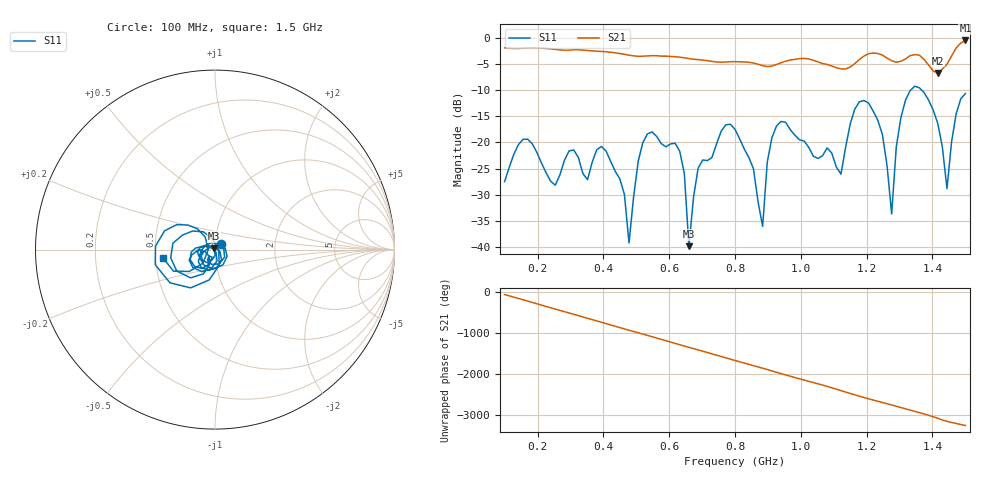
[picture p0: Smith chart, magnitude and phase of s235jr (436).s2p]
! NanoVNA-App
! Date: 2025-09-25 15:07:33
! Start: 100MHz Stop: 1,5GHz Points: 101
! S-Parameter data: F S11 S21 S12 S22
# Hz S RI R 50
!  Frequency  S11_Real  S11_Imag  S21_Real  S21_Imag  S12_Real  S12_Imag  S22_Real  S22_Imag
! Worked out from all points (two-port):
!   101 points, 100 MHz to 1.5 GHz, reference 50 ohm
!   highest |S21| = -0.56 dB at 1.5 GHz (marker M1); lowest = -6.8 dB at 1.416 GHz (marker M2)
!   |S21| within 3 dB of the highest: start of sweep to 502.4 MHz; 520.6 MHz to 591.8 MHz (71.23 MHz wide, 12.8 % of centre) (the widest 2 of 5)
!   lowest |S11| = -39.8 dB at 660 MHz (marker M3), VSWR 1.02, Z = 49.2 + j0.608 ohm
!   |S11| at or under -10 dB: start of sweep to 1.334 GHz; 1.367 GHz to end of sweep
!   S12 and S22 are empty: the file has one direction only
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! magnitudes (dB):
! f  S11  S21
! 100 MHz  -27.5  -2.0
! 156 MHz  -19.4  -2.0
! 338 MHz  -26.0  -2.4
! 408 MHz  -21.6  -2.7
! 478 MHz  -39.2  -3.4
! 520 MHz  -20.0  -3.6
! 576 MHz  -20.2  -3.5
! 632 MHz  -21.7  -3.7
! 660 MHz  -39.8  -4.0
! 688 MHz  -24.9  -4.2
! 800 MHz  -17.5  -4.6
! 884 MHz  -36.0  -5.4
! 926 MHz  -16.9  -5.1
! 1.038 GHz  -22.6  -4.3
! 1.122 GHz  -26.0  -6.0
! 1.206 GHz  -12.5  -3.1
! 1.276 GHz  -33.6  -4.4
! 1.29 GHz  -20.9  -4.7
! 1.332 GHz  -10.1  -3.5
! 1.416 GHz  -16.3  -6.8
! 1.444 GHz  -28.8  -5.1
! 1.5 GHz  -10.7  -0.6
